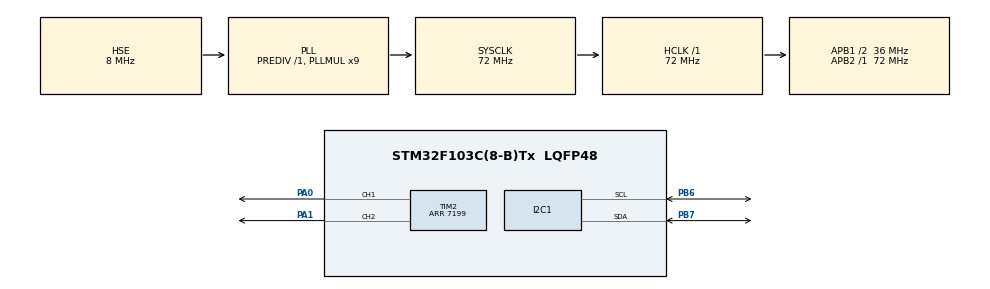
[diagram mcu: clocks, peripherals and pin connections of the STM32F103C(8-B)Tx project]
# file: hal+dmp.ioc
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I2C1.I2C_Mode=I2C_Fast
Mcu.Family=STM32F1
Mcu.Name=STM32F103C(8-B)Tx
Mcu.Package=LQFP48
NVIC.PriorityGroup=NVIC_PRIORITYGROUP_4
NVIC.TIM2_IRQn=true\:0\:0\:false\:false\:true\:true\:true\:true
PA0-WKUP.Signal=S_TIM2_CH1_ETR
PA1.Signal=S_TIM2_CH2
PA13.Mode=Serial_Wire
PA13.Signal=SYS_JTMS-SWDIO
PA14.Mode=Serial_Wire
PA14.Signal=SYS_JTCK-SWCLK
PB6.Mode=I2C
PB6.Signal=I2C1_SCL
PB7.Mode=I2C
PB7.Signal=I2C1_SDA
PD0-OSC_IN.Mode=HSE-External-Oscillator
PD0-OSC_IN.Signal=RCC_OSC_IN
PD1-OSC_OUT.Mode=HSE-External-Oscillator
PD1-OSC_OUT.Signal=RCC_OSC_OUT
ProjectManager.HeapSize=0x200
ProjectManager.StackSize=0x400
ProjectManager.TargetToolchain=MDK-ARM V5.32
RCC.AHBFreq_Value=72000000
RCC.APB1CLKDivider=RCC_HCLK_DIV2
RCC.APB1Freq_Value=36000000
RCC.APB1TimFreq_Value=72000000
RCC.APB2Freq_Value=72000000
RCC.APB2TimFreq_Value=72000000
RCC.HCLKFreq_Value=72000000
RCC.PLLMUL=RCC_PLL_MUL9
RCC.PLLSourceVirtual=RCC_PLLSOURCE_HSE
RCC.SYSCLKFreq_VALUE=72000000
RCC.SYSCLKSource=RCC_SYSCLKSOURCE_PLLCLK
RCC.USBFreq_Value=72000000
SH.S_TIM2_CH1_ETR.0=TIM2_CH1,PWM Generation1 CH1
SH.S_TIM2_CH2.0=TIM2_CH2,PWM Generation2 CH2
TIM2.Channel-PWM\ Generation1\ CH1=TIM_CHANNEL_1
TIM2.Channel-PWM\ Generation2\ CH2=TIM_CHANNEL_2
TIM2.Period=7199
VP_TIM2_VS_ClockSourceINT.Mode=Internal
board=custom

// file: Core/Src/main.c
/* USER CODE BEGIN Header */
/**
  ******************************************************************************
  * @file           : main.c
  * @brief          : Main program body
  ******************************************************************************
  * @attention
  *
  * Copyright (c) 2022 STMicroelectronics.
  * All rights reserved.
  *
  * This software is licensed under terms that can be found in the LICENSE file
  * in the root directory of this software component.
  * If no LICENSE file comes with this software, it is provided AS-IS.
  *
  ******************************************************************************
  */
/* USER CODE END Header */
#include "main.h"
#include "i2c.h"
#include "tim.h"
#include "gpio.h"

void SystemClock_Config(void);

/* USER CODE BEGIN 0 */
	float pitch=0;
	float yaw=0;
	float roll=0;
	float dmp_init=3;

uint16_t TIM2_CH1=0;
uint16_t TIM2_CH2=7200;
int TIM_LED_G=0;
int TIM_LED_B=0;
int TIM2_LED_G=0;
int TIM2_LED_B=0;

void LED_G(float S_G){//绿色led指示函数->S_G=N秒
		TIM_LED_G=S_G*10000;
	  __HAL_TIM_SET_COMPARE(&htim2,TIM_CHANNEL_1,TIM2_CH1);

}
void LED_B(float S_B){//蓝色led指示函数->S_B=N秒
		TIM_LED_B=S_B*10000;
    __HAL_TIM_SET_COMPARE(&htim2,TIM_CHANNEL_2,TIM2_CH2);
}

/* USER CODE END 0 */

int main(void)
{

  /* MCU Configuration--------------------------------------------------------*/

  /* Reset of all peripherals, Initializes the Flash interface and the Systick. */
   HAL_Init();

  /* Configure the system clock */
  SystemClock_Config();

  /* Initialize all configured peripherals */
  MX_GPIO_Init();
  MX_I2C1_Init();
  MX_TIM2_Init();
  /* USER CODE BEGIN 2 */
		HAL_TIM_PWM_Start(&htim2,TIM_CHANNEL_1);
    HAL_TIM_PWM_Start(&htim2,TIM_CHANNEL_2);
    HAL_TIM_Base_Start_IT(&htim2);
  dmp_init=DMP_Init();//dmp自检
  /* USER CODE END 2 */

  /* Infinite loop */
  /* USER CODE BEGIN WHILE */
  while (1)
  {
		 LED_G(0.5);
		Read_DMP(&pitch,&roll,&yaw);//获取dmp数据
		dmp_init=pitch;
		LED_B(pitch);
		HAL_Delay(20);
    /* USER CODE END WHILE */

  }
}

void SystemClock_Config(void)
{
  RCC_OscInitTypeDef RCC_OscInitStruct = {0};
  RCC_ClkInitTypeDef RCC_ClkInitStruct = {0};

  /** Initializes the RCC Oscillators according to the specified parameters
  * in the RCC_OscInitTypeDef structure.
  */
  RCC_OscInitStruct.OscillatorType = RCC_OSCILLATORTYPE_HSE;
  RCC_OscInitStruct.HSEState = RCC_HSE_ON;
  RCC_OscInitStruct.HSEPredivValue = RCC_HSE_PREDIV_DIV1;
  RCC_OscInitStruct.HSIState = RCC_HSI_ON;
  RCC_OscInitStruct.PLL.PLLState = RCC_PLL_ON;
  RCC_OscInitStruct.PLL.PLLSource = RCC_PLLSOURCE_HSE;
  RCC_OscInitStruct.PLL.PLLMUL = RCC_PLL_MUL9;
  if (HAL_RCC_OscConfig(&RCC_OscInitStruct) != HAL_OK)
  {
    Error_Handler();
  }

  /** Initializes the CPU, AHB and APB buses clocks
  */
  RCC_ClkInitStruct.ClockType = RCC_CLOCKTYPE_HCLK|RCC_CLOCKTYPE_SYSCLK
                              |RCC_CLOCKTYPE_PCLK1|RCC_CLOCKTYPE_PCLK2;
  RCC_ClkInitStruct.SYSCLKSource = RCC_SYSCLKSOURCE_PLLCLK;
  RCC_ClkInitStruct.AHBCLKDivider = RCC_SYSCLK_DIV1;
  RCC_ClkInitStruct.APB1CLKDivider = RCC_HCLK_DIV2;
  RCC_ClkInitStruct.APB2CLKDivider = RCC_HCLK_DIV1;

  if (HAL_RCC_ClockConfig(&RCC_ClkInitStruct, FLASH_LATENCY_2) != HAL_OK)
  {
    Error_Handler();
  }
}

/* USER CODE BEGIN 4 */
void HAL_TIM_PeriodElapsedCallback(TIM_HandleTypeDef *htim){

	if(htim==(&htim2))//tim2定时中断10khz
	{
		/*LED_G*/
	if(TIM2_LED_G<TIM_LED_G)
		TIM2_LED_G++;
	else{
		if(TIM2_CH1==7200)
    TIM2_CH1=0;
		else
		TIM2_CH1=7200;
	  TIM2_LED_G=0;
	}

     /*LED_B*/
	if(TIM2_LED_B<TIM_LED_B)
		TIM2_LED_B++;
	else{
		if(TIM2_CH2==7200)
    TIM2_CH2=0;
		else
		TIM2_CH2=7200;
	  TIM2_LED_B=0;
	}

	}

}
/* USER CODE END 4 */

void Error_Handler(void)
{
  __disable_irq();
  while (1)
  {
  }
}
